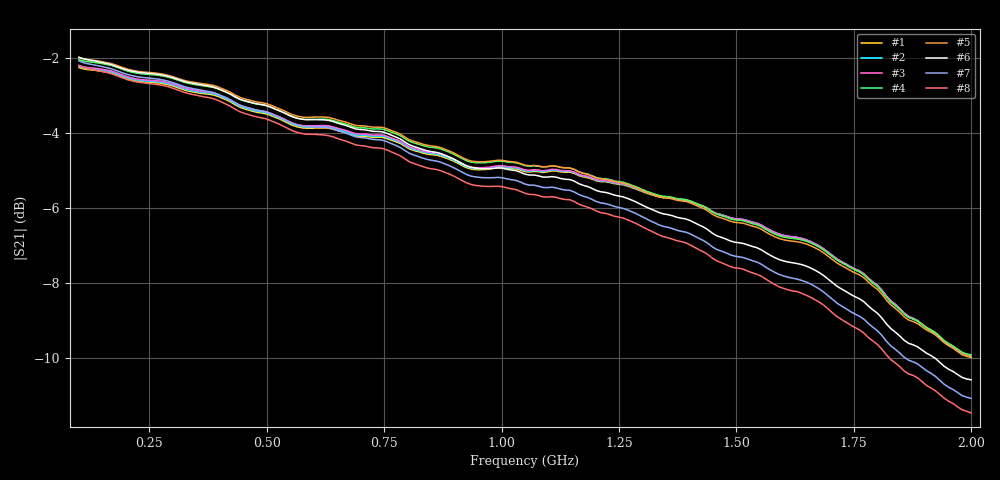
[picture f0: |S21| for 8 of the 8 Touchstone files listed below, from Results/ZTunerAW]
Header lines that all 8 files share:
!Keysight Technologies,N5242B,MY48420967,A.15.65.19
!Correction: S11(C  2-Port  )
!S21(C  2-Port  )
!S12(C  2-Port  )
!S22(C  2-Port  )
!S2P File: Measurements: S11, S21, S12, S22:
# Hz S  dB  R 50
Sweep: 100 MHz to 2 GHz
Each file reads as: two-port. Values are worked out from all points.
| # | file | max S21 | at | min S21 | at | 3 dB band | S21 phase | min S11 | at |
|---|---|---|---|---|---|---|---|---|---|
| 1 | S-ParamMeas20k_ZTunerAW.s2p | -2.26 dB | 100 MHz | -10.0 dB | 2 GHz | 100 MHz-1.192 GHz | 92 deg at 1.05 GHz | -15.4 dB | 100 MHz |
| 2 | S-ParamMeas25k_ZTunerAW.s2p | -2.23 dB | 100 MHz | -10.0 dB | 2 GHz | 100 MHz-1.192 GHz | 92 deg at 1.05 GHz | -15.5 dB | 100 MHz |
| 3 | S-ParamMeas30k_ZTunerAW.s2p | -2.21 dB | 100 MHz | -9.9 dB | 2 GHz | 100 MHz-1.192 GHz | 92 deg at 1.05 GHz | -15.6 dB | 100 MHz |
| 4 | S-ParamMeas77k_ZTunerAW.s2p | -2.05 dB | 100 MHz | -9.9 dB | 2 GHz | 100 MHz-1.164 GHz | 91 deg at 1.05 GHz | -16.4 dB | 100 MHz |
| 5 | S-ParamMeas100k_ZTunerAW.s2p | -2.00 dB | 100 MHz | -10.0 dB | 2 GHz | 100 MHz-1.155 GHz | 90 deg at 1.05 GHz | -16.8 dB | 100 MHz |
| 6 | S-ParamMeas200k_ZTunerAW.s2p | -1.99 dB | 100 MHz | -10.6 dB | 2 GHz | 100 MHz-1.012 GHz | 90 deg at 1.05 GHz | -17.6 dB | 100 MHz |
| 7 | S-ParamMeas250k_ZTunerAW.s2p | -2.09 dB | 100 MHz | -11.1 dB | 2 GHz | 100 MHz-917 MHz | 90 deg at 1.05 GHz | -17.6 dB | 100 MHz |
| 8 | S-ParamMeas290k_ZTunerAW.s2p | -2.22 dB | 100 MHz | -11.5 dB | 2 GHz | 100 MHz-898 MHz | 90 deg at 1.05 GHz | -17.5 dB | 100 MHz |
